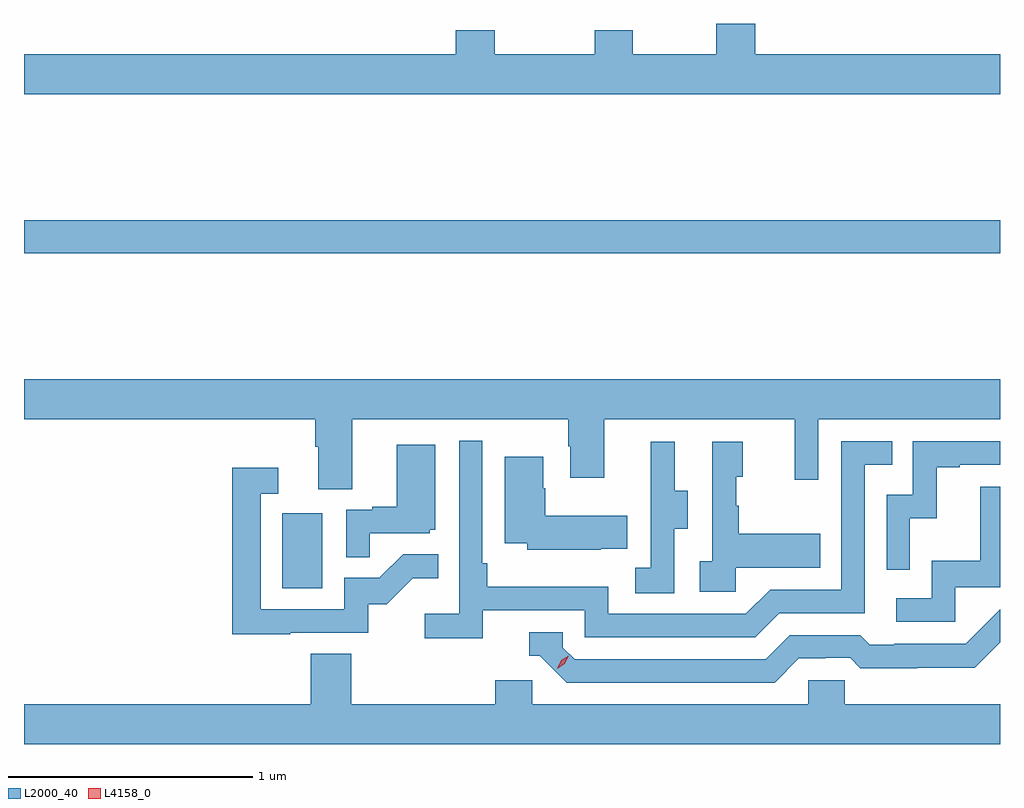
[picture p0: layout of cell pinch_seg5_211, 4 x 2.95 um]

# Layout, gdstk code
import gdstk
lib = gdstk.Library(unit=1e-6, precision=1e-09)
def R(c, l, rs):  # rectangles x0, y0, x1, y1
    for r in rs: c.add(gdstk.rectangle(r[:2], r[2:], *l))
def P(c, l, *ps):  # polygons
    for p in ps: c.add(gdstk.Polygon(p, *l))
L2000_40 = (2000, 40)
L4158_0 = (4158, 0)

pinch_seg5_211 = lib.new_cell('pinch_seg5_211')
R(pinch_seg5_211, L2000_40, [(1008.698,909.348,1008.862,909.655), (1007.639,910.72,1011.639,910.856)])
P(pinch_seg5_211, L2000_40, [(1011.639,911.536),(1010.636,911.536),(1010.636,911.662),(1010.476,911.662),(1010.476,911.536),(1010.133,911.536),(1010.133,911.635),(1009.978,911.635),(1009.978,911.536),(1009.569,911.536),(1009.569,911.635),(1009.409,911.635),(1009.409,911.536),(1007.639,911.536),(1007.639,911.372),(1011.639,911.372)],
  [(1008.985,910.04),(1009.87,910.04),(1009.87,909.929),(1009.877,909.929),(1009.877,909.801),(1010.017,909.801),(1010.017,910.04),(1010.798,910.04),(1010.798,909.792),(1010.895,909.792),(1010.895,910.04),(1011.639,910.04),(1011.639,910.204),(1007.639,910.204),(1007.639,910.04),(1008.833,910.04),(1008.833,909.928),(1008.845,909.928),(1008.845,909.754),(1008.985,909.754)],
  [(1009.52,909.258),(1009.938,909.258),(1009.938,909.147),(1010.635,909.147),(1010.734,909.246),(1011.084,909.246),(1011.084,909.855),(1011.197,909.855),(1011.197,909.951),(1010.988,909.951),(1010.988,909.342),(1010.697,909.342),(1010.598,909.243),(1010.034,909.243),(1010.034,909.355),(1009.538,909.355),(1009.538,909.451),(1009.518,909.451),(1009.518,909.952),(1009.422,909.952),(1009.422,909.244),(1009.281,909.244),(1009.281,909.142),(1009.52,909.142)],
  [(1011.27,909.635),(1011.38,909.635),(1011.38,909.843),(1011.475,909.843),(1011.475,909.855),(1011.639,909.855),(1011.639,909.951),(1011.282,909.951),(1011.282,909.732),(1011.174,909.732),(1011.174,909.423),(1011.27,909.423)],
  [(1010.556,909.431),(1010.903,909.431),(1010.903,909.571),(1010.569,909.571),(1010.569,909.686),(1010.559,909.686),(1010.559,909.804),(1010.584,909.804),(1010.584,909.949),(1010.46,909.949),(1010.46,909.458),(1010.409,909.458),(1010.409,909.333),(1010.556,909.333)],
  [(1010.304,909.592),(1010.359,909.592),(1010.359,909.747),(1010.305,909.747),(1010.305,909.949),(1010.207,909.949),(1010.207,909.735),(1010.208,909.735),(1010.208,909.431),(1010.145,909.431),(1010.145,909.328),(1010.304,909.328)],
  [(1009.055,909.573),(1009.302,909.573),(1009.302,909.588),(1009.324,909.588),(1009.324,909.937),(1009.166,909.937),(1009.166,909.682),(1009.067,909.682),(1009.067,909.669),(1008.96,909.669),(1008.96,909.475),(1009.055,909.475)],
  [(1010.003,909.509),(1010.111,909.509),(1010.111,909.646),(1009.776,909.646),(1009.776,909.758),(1009.768,909.758),(1009.768,909.886),(1009.61,909.886),(1009.61,909.533),(1009.701,909.533),(1009.701,909.506),(1010.003,909.506)],
  [(1008.731,909.165),(1009.05,909.165),(1009.05,909.282),(1009.126,909.282),(1009.233,909.389),(1009.337,909.389),(1009.337,909.488),(1009.193,909.488),(1009.095,909.39),(1008.951,909.39),(1008.951,909.261),(1008.609,909.261),(1008.609,909.735),(1008.682,909.735),(1008.682,909.841),(1008.493,909.841),(1008.493,909.16),(1008.731,909.16)],
  [(1011.456,909.351),(1011.639,909.351),(1011.639,909.763),(1011.559,909.763),(1011.559,909.46),(1011.36,909.46),(1011.36,909.306),(1011.213,909.306),(1011.213,909.21),(1011.456,909.21)],
  [(1010.815,909.06),(1010.922,909.06),(1010.922,909.063),(1011.025,909.063),(1011.067,909.021),(1011.3,909.021),(1011.3,909.023),(1011.536,909.023),(1011.639,909.126),(1011.639,909.261),(1011.498,909.12),(1011.205,909.12),(1011.205,909.117),(1011.106,909.117),(1011.067,909.156),(1010.778,909.156),(1010.679,909.057),(1009.896,909.057),(1009.848,909.105),(1009.848,909.168),(1009.709,909.168),(1009.709,909.072),(1009.752,909.072),(1009.863,908.961),(1010.716,908.961)],
  [(1011.639,908.872),(1011.003,908.872),(1011.003,908.97),(1010.853,908.97),(1010.853,908.872),(1009.722,908.872),(1009.722,908.97),(1009.571,908.97),(1009.571,908.872),(1008.98,908.872),(1008.98,909.08),(1008.815,909.08),(1008.815,908.872),(1007.639,908.872),(1007.639,908.708),(1011.639,908.708)])
P(pinch_seg5_211, L4158_0, [(1009.824,909.019),(1009.824,909.02),(1009.841,909.052),(1009.872,909.071),(1009.872,909.071),(1009.872,909.071),(1009.855,909.038),(1009.825,909.019)])

lib.write_gds('pinch_seg5_211.gds')
